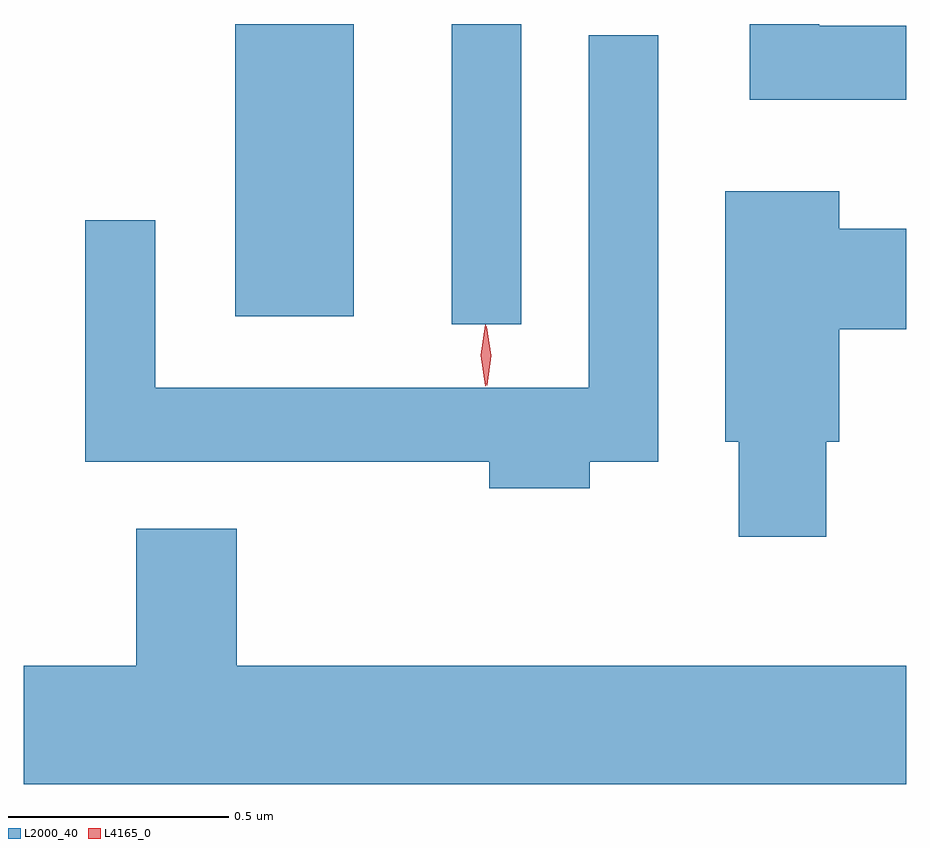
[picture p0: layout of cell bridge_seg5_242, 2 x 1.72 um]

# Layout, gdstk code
import gdstk
lib = gdstk.Library(unit=1e-6, precision=1e-09)
def R(c, l, rs):  # rectangles x0, y0, x1, y1
    for r in rs: c.add(gdstk.rectangle(r[:2], r[2:], *l))
def P(c, l, *ps):  # polygons
    for p in ps: c.add(gdstk.Polygon(p, *l))
L2000_40 = (2000, 40)
L4165_0 = (4165, 0)

bridge_seg5_242 = lib.new_cell('bridge_seg5_242')
R(bridge_seg5_242, L2000_40, [(1337.226,1428.978,1337.384,1429.658), (1336.736,1428.996,1337.004,1429.658)])
P(bridge_seg5_242, L2000_40, [(1338.256,1429.654),(1338.059,1429.654),(1338.059,1429.658),(1337.901,1429.658),(1337.901,1429.486),(1338.256,1429.486)],
  [(1337.539,1428.666),(1337.694,1428.666),(1337.694,1429.633),(1337.536,1429.633),(1337.536,1428.834),(1336.554,1428.834),(1336.554,1429.213),(1336.396,1429.213),(1336.396,1428.666),(1337.311,1428.666),(1337.311,1428.606),(1337.539,1428.606)],
  [(1338.074,1428.711),(1338.104,1428.711),(1338.104,1428.966),(1338.256,1428.966),(1338.256,1429.194),(1338.104,1429.194),(1338.104,1429.279),(1337.846,1429.279),(1337.846,1428.711),(1337.876,1428.711),(1337.876,1428.496),(1338.074,1428.496)],
  [(1338.256,1428.204),(1336.739,1428.204),(1336.739,1428.514),(1336.511,1428.514),(1336.511,1428.204),(1336.256,1428.204),(1336.256,1427.936),(1338.256,1427.936)])
P(bridge_seg5_242, L4165_0, [(1337.305,1428.839),(1337.305,1428.84),(1337.295,1428.906),(1337.304,1428.972),(1337.305,1428.973),(1337.305,1428.972),(1337.315,1428.906),(1337.306,1428.84)],
  [(1337.302,1428.837),(1337.302,1428.838),(1337.292,1428.907),(1337.302,1428.976),(1337.302,1428.976),(1337.303,1428.976),(1337.312,1428.907),(1337.303,1428.838)])

lib.write_gds('bridge_seg5_242.gds')
